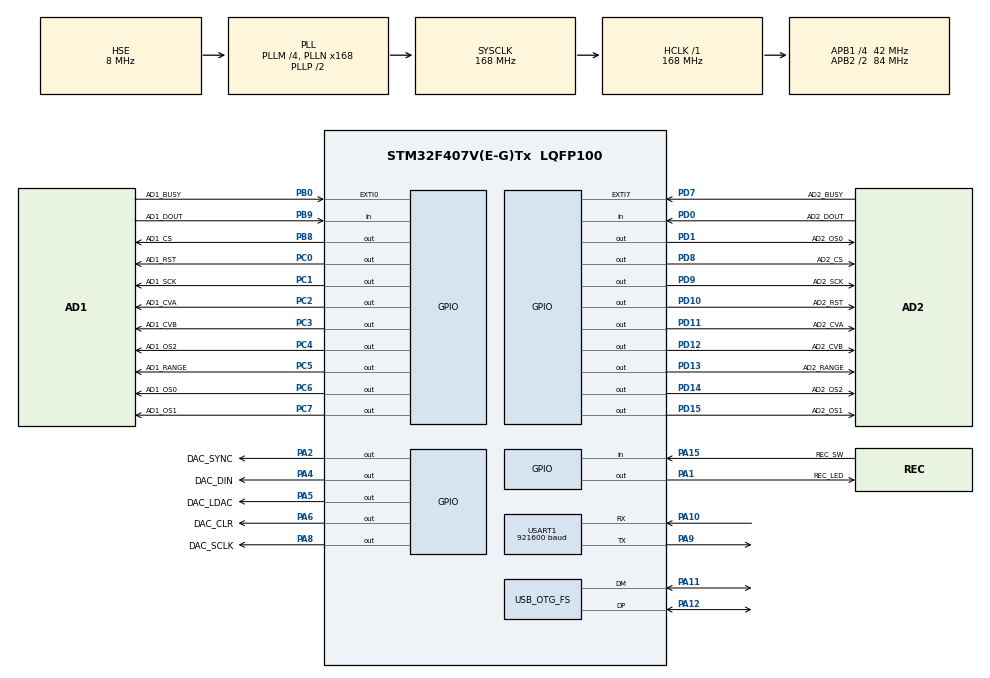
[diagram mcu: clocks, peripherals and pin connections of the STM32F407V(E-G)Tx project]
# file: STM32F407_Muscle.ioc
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Dma.Request0=SDIO_RX
Dma.Request1=SDIO_TX
Dma.Request2=USART1_TX
Dma.Request3=USART1_RX
Dma.SDIO_RX.0.Channel=DMA_CHANNEL_4
Dma.SDIO_RX.0.Direction=DMA_PERIPH_TO_MEMORY
Dma.SDIO_RX.0.FIFOMode=DMA_FIFOMODE_ENABLE
Dma.SDIO_RX.0.FIFOThreshold=DMA_FIFO_THRESHOLD_FULL
Dma.SDIO_RX.0.Instance=DMA2_Stream3
Dma.SDIO_RX.0.MemBurst=DMA_MBURST_INC4
Dma.SDIO_RX.0.MemDataAlignment=DMA_MDATAALIGN_WORD
Dma.SDIO_RX.0.MemInc=DMA_MINC_ENABLE
Dma.SDIO_RX.0.Mode=DMA_PFCTRL
Dma.SDIO_RX.0.PeriphBurst=DMA_PBURST_INC4
Dma.SDIO_RX.0.PeriphDataAlignment=DMA_PDATAALIGN_WORD
Dma.SDIO_RX.0.PeriphInc=DMA_PINC_DISABLE
Dma.SDIO_RX.0.Priority=DMA_PRIORITY_VERY_HIGH
Dma.SDIO_TX.1.Channel=DMA_CHANNEL_4
Dma.SDIO_TX.1.Direction=DMA_MEMORY_TO_PERIPH
Dma.SDIO_TX.1.FIFOMode=DMA_FIFOMODE_ENABLE
Dma.SDIO_TX.1.FIFOThreshold=DMA_FIFO_THRESHOLD_FULL
Dma.SDIO_TX.1.Instance=DMA2_Stream6
Dma.SDIO_TX.1.MemBurst=DMA_MBURST_INC4
Dma.SDIO_TX.1.MemDataAlignment=DMA_MDATAALIGN_WORD
Dma.SDIO_TX.1.MemInc=DMA_MINC_ENABLE
Dma.SDIO_TX.1.Mode=DMA_PFCTRL
Dma.SDIO_TX.1.PeriphBurst=DMA_PBURST_INC4
Dma.SDIO_TX.1.PeriphDataAlignment=DMA_PDATAALIGN_WORD
Dma.SDIO_TX.1.PeriphInc=DMA_PINC_DISABLE
Dma.SDIO_TX.1.Priority=DMA_PRIORITY_VERY_HIGH
Dma.USART1_TX.2.Channel=DMA_CHANNEL_4
Dma.USART1_TX.2.Direction=DMA_MEMORY_TO_PERIPH
Dma.USART1_TX.2.FIFOMode=DMA_FIFOMODE_DISABLE
Dma.USART1_TX.2.Instance=DMA2_Stream7
Dma.USART1_TX.2.MemDataAlignment=DMA_MDATAALIGN_BYTE
Dma.USART1_TX.2.MemInc=DMA_MINC_ENABLE
Dma.USART1_TX.2.Mode=DMA_NORMAL
Dma.USART1_TX.2.PeriphDataAlignment=DMA_PDATAALIGN_BYTE
Dma.USART1_TX.2.PeriphInc=DMA_PINC_DISABLE
Dma.USART1_TX.2.Priority=DMA_PRIORITY_LOW
Dma.USART1_RX.3.Channel=DMA_CHANNEL_4
Dma.USART1_RX.3.Direction=DMA_PERIPH_TO_MEMORY
Dma.USART1_RX.3.FIFOMode=DMA_FIFOMODE_DISABLE
Dma.USART1_RX.3.Instance=DMA2_Stream2
Dma.USART1_RX.3.MemDataAlignment=DMA_MDATAALIGN_BYTE
Dma.USART1_RX.3.MemInc=DMA_MINC_ENABLE
Dma.USART1_RX.3.Mode=DMA_NORMAL
Dma.USART1_RX.3.PeriphDataAlignment=DMA_PDATAALIGN_BYTE
Dma.USART1_RX.3.PeriphInc=DMA_PINC_DISABLE
Dma.USART1_RX.3.Priority=DMA_PRIORITY_HIGH
Mcu.Family=STM32F4
Mcu.Name=STM32F407V(E-G)Tx
Mcu.Package=LQFP100
NVIC.DMA2_Stream2_IRQn=true\:2\:0\:false\:false\:true\:false\:true\:true
NVIC.DMA2_Stream7_IRQn=true\:3\:0\:false\:false\:true\:false\:true\:true
NVIC.DMA2_Stream3_IRQn=true\:3\:0\:false\:false\:true\:false\:true\:true
NVIC.DMA2_Stream6_IRQn=true\:3\:0\:false\:false\:true\:false\:true\:true
NVIC.EXTI0_IRQn=true\:1\:0\:false\:false\:true\:false\:true\:true
NVIC.OTG_FS_IRQn=true\:5\:0\:false\:false\:true\:false\:true\:true
NVIC.SDIO_IRQn=true\:3\:0\:false\:false\:true\:false\:true\:true
NVIC.PriorityGroup=NVIC_PRIORITYGROUP_4
NVIC.TIM3_IRQn=true\:0\:0\:false\:false\:true\:false\:true\:true
NVIC.USART1_IRQn=true\:2\:0\:false\:false\:true\:false\:true\:true
PA13.Mode=Serial_Wire
PA13.Signal=SYS_JTMS-SWDIO
PA14.Mode=Serial_Wire
PA14.Signal=SYS_JTCK-SWCLK
PA15.GPIO_Label=REC_SW
PA15.GPIO_PuPd=GPIO_PULLUP
PA15.Signal=GPIO_Input
PA2.GPIO_Label=DAC_SYNC
PA2.PinState=GPIO_PIN_SET
PA2.Signal=GPIO_Output
PA1.GPIO_Label=REC_LED
PA1.PinState=GPIO_PIN_SET
PA1.Signal=GPIO_Output
PA4.GPIO_Label=DAC_DIN
PA4.Signal=GPIO_Output
PA5.GPIO_Label=DAC_LDAC
PA5.Signal=GPIO_Output
PA6.GPIO_Label=DAC_CLR
PA6.PinState=GPIO_PIN_SET
PA6.Signal=GPIO_Output
PA8.GPIO_Label=DAC_SCLK
PA8.Signal=GPIO_Output
PA9.Mode=Asynchronous
PA9.Signal=USART1_TX
PA10.Mode=Asynchronous
PA10.Signal=USART1_RX
PA11.Mode=Host_Only
PA11.Signal=USB_OTG_FS_DM
PA12.Mode=Host_Only
PA12.Signal=USB_OTG_FS_DP
PB0.GPIO_Label=AD1_BUSY
PB0.GPIO_ModeDefaultEXTI=GPIO_MODE_IT_FALLING
PB0.GPIO_PuPd=GPIO_PULLUP
PB0.Mode=IT_Falling
PB0.Signal=GPXTI0
PB8.GPIO_Label=AD1_CS
PB8.PinState=GPIO_PIN_SET
PB8.Signal=GPIO_Output
PB9.GPIO_Label=AD1_DOUT
PB9.GPIO_PuPd=GPIO_PULLUP
PB9.Signal=GPIO_Input
PC0.GPIO_Label=AD1_RST
PC0.Signal=GPIO_Output
PC1.GPIO_Label=AD1_SCK
PC1.Signal=GPIO_Output
PC2.GPIO_Label=AD1_CVA
PC2.PinState=GPIO_PIN_SET
PC2.Signal=GPIO_Output
PC3.GPIO_Label=AD1_CVB
PC3.PinState=GPIO_PIN_SET
PC3.Signal=GPIO_Output
PC4.GPIO_Label=AD1_OS2
PC4.Signal=GPIO_Output
PC5.GPIO_Label=AD1_RANGE
PC5.Signal=GPIO_Output
PC6.GPIO_Label=AD1_OS0
PC6.Signal=GPIO_Output
PC7.GPIO_Label=AD1_OS1
PC7.Signal=GPIO_Output
PC8.Signal=SDIO_D0
PC12.Signal=SDIO_CK
PD0.GPIO_Label=AD2_DOUT
PD0.GPIO_PuPd=GPIO_PULLUP
PD0.Signal=GPIO_Input
PD1.GPIO_Label=AD2_OS0
PD1.Signal=GPIO_Output
PD2.Signal=SDIO_CMD
PD10.GPIO_Label=AD2_RST
PD10.Signal=GPIO_Output
PD11.GPIO_Label=AD2_CVA
PD11.PinState=GPIO_PIN_SET
PD11.Signal=GPIO_Output
PD12.GPIO_Label=AD2_CVB
PD12.PinState=GPIO_PIN_SET
PD12.Signal=GPIO_Output
PD13.GPIO_Label=AD2_RANGE
PD13.Signal=GPIO_Output
PD14.GPIO_Label=AD2_OS2
PD14.Signal=GPIO_Output
PD15.GPIO_Label=AD2_OS1
PD15.Signal=GPIO_Output
PD7.GPIO_Label=AD2_BUSY
PD7.GPIO_ModeDefaultEXTI=GPIO_MODE_IT_FALLING
PD7.GPIO_PuPd=GPIO_PULLUP
PD7.Mode=IT_Falling
PD7.Signal=GPXTI7
PD8.GPIO_Label=AD2_CS
PD8.PinState=GPIO_PIN_SET
PD8.Signal=GPIO_Output
PD9.GPIO_Label=AD2_SCK
PD9.Signal=GPIO_Output
PH0-OSC_IN.Mode=HSE-External-Oscillator
PH0-OSC_IN.Signal=RCC_OSC_IN
PH1-OSC_OUT.Mode=HSE-External-Oscillator
PH1-OSC_OUT.Signal=RCC_OSC_OUT
ProjectManager.HeapSize=0x1000
ProjectManager.StackSize=0x1000
ProjectManager.TargetToolchain=MDK-ARM V5.32
RCC.48MHZClocksFreq_Value=48000000
RCC.AHBFreq_Value=168000000
RCC.APB1CLKDivider=RCC_HCLK_DIV4
RCC.APB1Freq_Value=42000000
RCC.APB1TimFreq_Value=84000000
RCC.APB2CLKDivider=RCC_HCLK_DIV2
RCC.APB2Freq_Value=84000000
RCC.APB2TimFreq_Value=168000000
RCC.CortexFreq_Value=168000000
RCC.HCLKFreq_Value=168000000
RCC.HSE_VALUE=8000000
RCC.HSI_VALUE=16000000
RCC.LSE_VALUE=32768
RCC.PLLM=4
RCC.PLLN=168
RCC.PLLQ=7
RCC.PLLSourceVirtual=RCC_PLLSOURCE_HSE
RCC.SYSCLKFreq_VALUE=168000000
RCC.SYSCLKSource=RCC_SYSCLKSOURCE_PLLCLK
RCC.VCOOutputFreq_Value=336000000
SH.SDIO_D0.0=SDIO_D0
SDIO.BusWide=SDIO_BUS_WIDE_1B
SDIO.ClockBypass=SDIO_CLOCK_BYPASS_DISABLE
SDIO.ClockDiv=10
SDIO.ClockEdge=SDIO_CLOCK_EDGE_RISING
SDIO.ClockPowerSave=SDIO_CLOCK_POWER_SAVE_DISABLE
SDIO.HardwareFlowControl=SDIO_HARDWARE_FLOW_CONTROL_ENABLE
FATFS.VirtualMode=Sd
VP_FATFS_VS_SDSPI1.Mode=SD
USB_HOST.USBH_HandleTypeDef-CDC_FS=hUsbHostFS
USB_HOST.VirtualModeFS=Cdc
USB_OTG_FS.VirtualMode=Host_Only
USB_OTG_FS.phy_itface=HCD_PHY_EMBEDDED
TIM3.AutoReloadPreload=TIM_AUTORELOAD_PRELOAD_DISABLE
TIM3.ClockDivision=TIM_CLOCKDIVISION_DIV1
TIM3.CounterMode=TIM_COUNTERMODE_UP
TIM3.Period=499
TIM3.Prescaler=83
TIM3.TIM_MasterOutputTrigger=TIM_TRGO_RESET
TIM3.TIM_MasterSlaveMode=TIM_MASTERSLAVEMODE_DISABLE
USART1.BaudRate=921600
USART1.Parity=UART_PARITY_NONE
USART1.StopBits=UART_STOPBITS_1
USART1.VirtualMode=VM_ASYNC
USART1.WordLength=UART_WORDLENGTH_8B
VP_TIM3_VS_ClockSourceINT.Mode=Internal
board=custom

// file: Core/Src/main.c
/* USER CODE BEGIN Header */
/**
  ******************************************************************************
  * @file           : main.c
  * @brief          : Main program body
  *
  *  - TIM3 @ 2000 Hz starts a synchronous conversion on both AD7606 chips;
  *    the BUSY falling edge (EXTI0) reads all 16 channels right in the ISR
  *    and pushes the raw frame into the SD recorder ring, so samples are
  *    captured completely even while a FatFs write blocks the main loop.
  *  - 100 Hz of the stream goes to USART1 as a VOFA+ JustFloat frame,
  *    59 little-endian float32 followed by the tail 00 00 80 7F:
  *      [0]    status: bit0 = SD card present, bit1 = USB device connected
  *             (0..3, updated live, hot-plug aware)
  *      [1..2] DAC A / DAC B output voltage (last commanded value)
  *      [3..18] 16 x raw ADC volts
  *      [19..34] 16 x filtered sEMG volts (20 Hz HP, 50 Hz notch, 450 Hz LP)
  *      [35..58] 4 IMU x [roll,pitch,yaw,ax,ay,az] (held between updates)
  *  - Every ADC sample and every raw IMU frame is also logged to the SD
  *    card (recorder.c, LOGxxxx.BIN) with a common 2000 Hz sequence number.
  *  - IMU data comes from the WT9011DCL-RF receiver attached to USB OTG FS
  *    (USB Host CDC, CH340 @ 460800), parsed by imu_parser.
  *  - USART1 RX takes line-based string commands (see cmd.h), e.g.
  *    "DAC A 3.3" sets DAC channel A to +3.3 V, "REC STOP" stops logging.
  *  - On-board button K3 (PA15, to GND) toggles SD recording start/stop;
  *    the PA1 LED (active low) is on while recording. See 原理图V2.8.
  *  - printf() is retargeted to USART1 through a non-blocking DMA ring
  *    buffer (serial.c), so logging never stalls the 2000 Hz loop.
  *
  *  Interrupt priorities: TIM3 (conversion start) = 0, EXTI0 (BUSY) = 1,
  *  USART1 = 2, DMA2 Stream7 (USART1 TX) = 3, OTG_FS (USB host) = 5.
  *  SDIO runs in polling mode (no IRQ).
  ******************************************************************************
  * @attention
  *
  * Copyright (c) 2026 STMicroelectronics.
  * All rights reserved.
  *
  * This software is licensed under terms that can be found in the LICENSE file
  * in the root directory of this software component.
  * If no LICENSE file comes with this software, it is provided AS-IS.
  *
  ******************************************************************************
  */
/* USER CODE END Header */
#include "main.h"
#include "dma.h"
#include "tim.h"
#include "usart.h"
#include "sdio.h"
#include "usb_host.h"
#include "gpio.h"

/* USER CODE BEGIN Includes */
#include "ad7606.h"
#include "emg_filter.h"
#include "dac8563.h"
#include "serial.h"
#include "cmd.h"
#include "imu_parser.h"
#include "recorder.h"
#include "usbh_cdc.h"

#include <stdio.h>
#include <string.h>
/* USER CODE END Includes */

/* USER CODE BEGIN PTD */
typedef enum
{
  CDC_STATE_IDLE = 0,
  CDC_STATE_SET_LINE_CODING,
  CDC_STATE_SET_CONTROL_LINE,
  CDC_STATE_START_RECEPTION,
  CDC_STATE_RUNNING
} CDC_AppStateTypeDef;
/* USER CODE END PTD */

/* USER CODE BEGIN PD */
#define IMU_COUNT                    4u      /* slaves with device_id 0..3        */
#define IMU_FLOATS_PER_UNIT          6u      /* roll,pitch,yaw + ax,ay,az         */
#define TX_META_FLOATS               3u      /* status + DAC A + DAC B (first)    */
#define TX_CH_COUNT                  (TX_META_FLOATS + (2u * AD7606_TOTAL_CH) + IMU_COUNT * IMU_FLOATS_PER_UNIT)
#define TX_FRAME_LEN                 (TX_CH_COUNT * 4u + 4u)   /* floats + tail  */
#define TX_DECIMATION                20u     /* 2000 Hz / 20 = 100 Hz on UART  */
#define ADC_LSB_VOLTS                (5.0f / 32768.0f)         /* +/-5 V range   */

#define CDC_RX_BUF_SIZE              512U
#define CDC_RX_TIMEOUT_MS            2000U
#define CDC_REQ_SET_CONTROL_LINE_STATE 0x22U
#define CDC_CTRL_LINE_DTR_RTS        0x0003U
#define CDC_LINE_CODING_TIMEOUT_MS   2000U
#define CDC_BAUDRATE                 460800U
/* USER CODE END PD */

/* USER CODE BEGIN PV */
extern ApplicationTypeDef Appli_state;
extern USBH_HandleTypeDef hUsbHostFS;

volatile uint32_t g_sample_seq = 0u;        /* 2000 Hz tick, shared with recorder */
static volatile uint8_t g_new_sample = 0u;  /* set by EXTI ISR after ADC read   */
static int16_t  g_adc_values[AD7606_TOTAL_CH];
static volatile float g_emg_filtered_volts[AD7606_TOTAL_CH];
static float    g_tx_fdata[TX_CH_COUNT];
static uint8_t  g_tx_frame[TX_FRAME_LEN];
static const uint8_t g_tx_tail[4] = {0x00u, 0x00u, 0x80u, 0x7Fu};  /* JustFloat tail */
static uint32_t g_next_uart_seq = 0u;

static uint8_t cdc_rx_buf[CDC_RX_BUF_SIZE];
static CDC_LineCodingTypeDef cdc_linecoding;
static volatile CDC_AppStateTypeDef cdc_state = CDC_STATE_IDLE;
static volatile uint8_t  cdc_line_coding_done = 0;
static volatile uint8_t  cdc_rx_ready = 0;
static volatile uint32_t cdc_last_rx_tick = 0;
static uint32_t cdc_line_coding_start_tick = 0;
/* USER CODE END PV */

void SystemClock_Config(void);
/* USER CODE BEGIN PFP */
static void CDC_Process(void);
static USBH_StatusTypeDef CDC_SetControlLineState(USBH_HandleTypeDef *phost, uint16_t state);
static void build_sample_frame(void);
static void rec_switch_poll(void);
/* USER CODE END PFP */

int main(void)
{

  /* MCU Configuration--------------------------------------------------------*/

  /* Reset of all peripherals, Initializes the Flash interface and the Systick. */
  HAL_Init();

  /* Configure the system clock */
  SystemClock_Config();

  /* Initialize all configured peripherals */
  MX_GPIO_Init();
  MX_DMA_Init();
  MX_TIM3_Init();
  MX_USART1_UART_Init();
  MX_SDIO_SD_Init();
  MX_USB_HOST_Init();
  /* USER CODE BEGIN 2 */
  AD7606_Init();
  EMG_Filter_Init();
  DAC8563_Init();

  /* Boot-time status, printed once at reset (the JustFloat stream keeps
     reporting both live in channel 0). Recorder_Init only probes the card;
     it does not create a file or start recording. USB detection gets a
     bounded 2 s enumeration window; TIM3 sampling is not started yet. */
  uint8_t boot_sd = Recorder_Init();
  uint8_t boot_usb = 0u;
  uint32_t usb_wait = HAL_GetTick();
  while ((HAL_GetTick() - usb_wait) < 2000u)
  {
    MX_USB_HOST_Process();
    if (Appli_state == APPLICATION_READY)
    {
      boot_usb = 1u;
      break;
    }
  }
  if ((Appli_state == APPLICATION_START) || (Appli_state == APPLICATION_READY))
  {
    boot_usb = 1u;
  }

  printf("\r\n[BOOT] SD=%u USB=%u (1=present)\r\n", (unsigned int)boot_sd, (unsigned int)boot_usb);
  printf("STM32F407_Muscle ready. USART1 @ 921600 8N1, JustFloat %u ch @ 100 Hz\r\n",
         (unsigned int)TX_CH_COUNT);
  printf("ch0: connection status (bit0=SD present, bit1=USB connected), ch1-2: DAC A/B volts\r\n");
  printf("Type HELP for commands.\r\n");

  Cmd_Init();
  HAL_TIM_Base_Start_IT(&htim3);
  /* USER CODE END 2 */

  /* Infinite loop */
  /* USER CODE BEGIN WHILE */
  while (1)
  {
    MX_USB_HOST_Process();
    CDC_Process();
    Recorder_Process();

    if ((g_new_sample != 0u) && ((int32_t)(g_sample_seq - g_next_uart_seq) >= 0))
    {
      g_new_sample = 0u;
      g_next_uart_seq = g_sample_seq + TX_DECIMATION;

      build_sample_frame();
      (void)Serial_Write(g_tx_frame, TX_FRAME_LEN);
    }

    Cmd_Process();

    rec_switch_poll();
    HAL_GPIO_WritePin(REC_LED_GPIO_Port, REC_LED_Pin,
                      (Recorder_IsActive() != 0u) ? GPIO_PIN_RESET : GPIO_PIN_SET);
    /* USER CODE END WHILE */

  }
}

void SystemClock_Config(void)
{
  RCC_OscInitTypeDef RCC_OscInitStruct = {0};
  RCC_ClkInitTypeDef RCC_ClkInitStruct = {0};

  /** Configure the main internal regulator output voltage
  */
  __HAL_RCC_PWR_CLK_ENABLE();
  __HAL_PWR_VOLTAGESCALING_CONFIG(PWR_REGULATOR_VOLTAGE_SCALE1);

  /** Initializes the RCC Oscillators according to the specified parameters
  * in the RCC_OscInitTypeDef structure.
  */
  RCC_OscInitStruct.OscillatorType = RCC_OSCILLATORTYPE_HSE;
  RCC_OscInitStruct.HSEState = RCC_HSE_ON;
  RCC_OscInitStruct.PLL.PLLState = RCC_PLL_ON;
  RCC_OscInitStruct.PLL.PLLSource = RCC_PLLSOURCE_HSE;
  RCC_OscInitStruct.PLL.PLLM = 4;
  RCC_OscInitStruct.PLL.PLLN = 168;
  RCC_OscInitStruct.PLL.PLLP = RCC_PLLP_DIV2;
  RCC_OscInitStruct.PLL.PLLQ = 7;
  if (HAL_RCC_OscConfig(&RCC_OscInitStruct) != HAL_OK)
  {
    Error_Handler();
  }

  /** Initializes the CPU, AHB and APB buses clocks
  */
  RCC_ClkInitStruct.ClockType = RCC_CLOCKTYPE_HCLK|RCC_CLOCKTYPE_SYSCLK
                              |RCC_CLOCKTYPE_PCLK1|RCC_CLOCKTYPE_PCLK2;
  RCC_ClkInitStruct.SYSCLKSource = RCC_SYSCLKSOURCE_PLLCLK;
  RCC_ClkInitStruct.AHBCLKDivider = RCC_HCLK_DIV1;
  RCC_ClkInitStruct.APB1CLKDivider = RCC_HCLK_DIV4;
  RCC_ClkInitStruct.APB2CLKDivider = RCC_HCLK_DIV2;

  if (HAL_RCC_ClockConfig(&RCC_ClkInitStruct, FLASH_LATENCY_5) != HAL_OK)
  {
    Error_Handler();
  }
}

/* USER CODE BEGIN 4 */
/**
  * @brief  Fill g_tx_frame with one JustFloat frame: 16 raw ADC channels in
  *         volts, followed by 16 filtered sEMG channels in volts, then for
  *         each IMU (id 0..3) roll/pitch/yaw in degrees and ax/ay/az in g.
  *         IMU fields hold their last value between updates.
  */
static void build_sample_frame(void)
{
  uint32_t idx = 0u;

  /* meta channels first: combined SD/USB status, then both DAC outputs */
  g_tx_fdata[idx++] = (float)((((Appli_state == APPLICATION_START) ||
                               (Appli_state == APPLICATION_READY)) ? 2u : 0u) |
                              ((Recorder_IsCardPresent() != 0u) ? 1u : 0u));
  g_tx_fdata[idx++] = DAC8563_GetVoltage(DAC8563_CH_A);
  g_tx_fdata[idx++] = DAC8563_GetVoltage(DAC8563_CH_B);

  /* latest ADC sample is written by the EXTI ISR; copy it atomically */
  __disable_irq();
  for (uint32_t i = 0u; i < AD7606_TOTAL_CH; i++)
  {
    g_tx_fdata[idx++] = (float)g_adc_values[i] * ADC_LSB_VOLTS;
  }
  for (uint32_t i = 0u; i < AD7606_TOTAL_CH; i++)
  {
    g_tx_fdata[idx++] = g_emg_filtered_volts[i];
  }
  __enable_irq();

  for (uint32_t id = 0u; id < IMU_COUNT; id++)
  {
    IMU_Data_t *d = IMU_GetSlaveData((uint8_t)id);

    /* guard against the parser updating the record from the OTG_FS ISR */
    __disable_irq();
    g_tx_fdata[idx++] = d->angle_deg[0];
    g_tx_fdata[idx++] = d->angle_deg[1];
    g_tx_fdata[idx++] = d->angle_deg[2];
    g_tx_fdata[idx++] = d->accel_g[0];
    g_tx_fdata[idx++] = d->accel_g[1];
    g_tx_fdata[idx++] = d->accel_g[2];
    __enable_irq();
  }

  memcpy(g_tx_frame, g_tx_fdata, TX_CH_COUNT * 4u);
  memcpy(&g_tx_frame[TX_CH_COUNT * 4u], g_tx_tail, 4u);
}

/**
  * @brief  Advance the USB CDC state machine (CH340 of the 9011RF receiver).
  */
static void CDC_Process(void)
{
  if (Appli_state == APPLICATION_READY)
  {
    switch (cdc_state)
    {
      case CDC_STATE_IDLE:
        cdc_linecoding.b.dwDTERate = CDC_BAUDRATE;
        cdc_linecoding.b.bCharFormat = 0U;
        cdc_linecoding.b.bParityType = 0U;
        cdc_linecoding.b.bDataBits = 8U;
        cdc_line_coding_done = 0U;
        cdc_line_coding_start_tick = HAL_GetTick();
        USBH_CDC_SetLineCoding(&hUsbHostFS, &cdc_linecoding);
        cdc_state = CDC_STATE_SET_LINE_CODING;
        break;

      case CDC_STATE_SET_LINE_CODING:
        if (cdc_line_coding_done != 0U)
        {
          cdc_state = CDC_STATE_SET_CONTROL_LINE;
        }
        else if ((HAL_GetTick() - cdc_line_coding_start_tick) > CDC_LINE_CODING_TIMEOUT_MS)
        {
          printf("[WARN] CDC SetLineCoding timeout, proceeding\r\n");
          cdc_state = CDC_STATE_SET_CONTROL_LINE;
        }
        break;

      case CDC_STATE_SET_CONTROL_LINE:
      {
        USBH_StatusTypeDef st = CDC_SetControlLineState(&hUsbHostFS, CDC_CTRL_LINE_DTR_RTS);
        if (st != USBH_BUSY)
        {
          cdc_state = CDC_STATE_START_RECEPTION;
        }
        break;
      }

      case CDC_STATE_START_RECEPTION:
        if (USBH_CDC_Receive(&hUsbHostFS, cdc_rx_buf, CDC_RX_BUF_SIZE) == USBH_OK)
        {
          cdc_last_rx_tick = HAL_GetTick();
          cdc_state = CDC_STATE_RUNNING;
        }
        break;

      case CDC_STATE_RUNNING:
        if ((HAL_GetTick() - cdc_last_rx_tick) > CDC_RX_TIMEOUT_MS)
        {
          printf("[WARN] CDC RX timeout, re-arming reception\r\n");
          cdc_state = CDC_STATE_START_RECEPTION;
        }
        break;

      default:
        cdc_state = CDC_STATE_IDLE;
        break;
    }
  }
  else
  {
    cdc_state = CDC_STATE_IDLE;
    cdc_rx_ready = 0U;
    cdc_line_coding_done = 0U;
  }
}

/**
  * @brief  SET_CONTROL_LINE_STATE class request (DTR | RTS), needed by the
  *         CH340 before it forwards data.
  */
static USBH_StatusTypeDef CDC_SetControlLineState(USBH_HandleTypeDef *phost, uint16_t state)
{
  phost->Control.setup.b.bmRequestType = USB_H2D | USB_REQ_TYPE_CLASS | USB_REQ_RECIPIENT_INTERFACE;
  phost->Control.setup.b.bRequest = CDC_REQ_SET_CONTROL_LINE_STATE;
  phost->Control.setup.b.wValue.w = state;
  phost->Control.setup.b.wIndex.w = 0x0000U;
  phost->Control.setup.b.wLength.w = 0U;

  return USBH_CtlReq(phost, NULL, 0U);
}

void USBH_CDC_LineCodingChanged(USBH_HandleTypeDef *phost)
{
  (void)phost;
  cdc_line_coding_done = 1U;
}

void USBH_CDC_ReceiveCallback(USBH_HandleTypeDef *phost)
{
  uint16_t len = USBH_CDC_GetLastReceivedDataSize(phost);

  if (len > 0U)
  {
    cdc_last_rx_tick = HAL_GetTick();
    cdc_rx_ready = 1U;
    IMU_ParseStream(cdc_rx_buf, len);
  }

  if (USBH_CDC_Receive(phost, cdc_rx_buf, CDC_RX_BUF_SIZE) != USBH_OK)
  {
    cdc_state = CDC_STATE_START_RECEPTION;
    cdc_rx_ready = 0U;
  }
}

/**
  * @brief  Poll the on-board REC button K3 (PA15, active low, 100 nF to GND
  *         on the board). Sampled every 20 ms, 3 identical samples required
  *         (60 ms debounce); a stable press toggles SD recording.
  */
static void rec_switch_poll(void)
{
  static uint32_t last_tick = 0u;
  static uint8_t  raw_history = 0xFFu;   /* bit0 = latest sample, 1 = released */
  static uint8_t  stable_state = 1u;     /* debounced state, 1 = released    */

  if ((HAL_GetTick() - last_tick) < 20u)
  {
    return;
  }
  last_tick = HAL_GetTick();

  raw_history = (uint8_t)((raw_history << 1) |
      ((HAL_GPIO_ReadPin(REC_SW_GPIO_Port, REC_SW_Pin) != GPIO_PIN_RESET) ? 1u : 0u));

  if ((raw_history & 0x07u) == 0x00u)
  {
    if (stable_state != 0u)
    {
      stable_state = 0u;   /* debounced press edge: toggle recording */
      if (Recorder_IsActive() != 0u)
      {
        Recorder_Stop();
      }
      else
      {
        Recorder_Start();
      }
    }
  }
  else if ((raw_history & 0x07u) == 0x07u)
  {
    stable_state = 1u;
  }
}

/**
  * @brief  TIM3 update (2000 Hz): bump the global sample sequence number and
  *         start a conversion on both AD7606 chips.
  */
void HAL_TIM_PeriodElapsedCallback(TIM_HandleTypeDef *htim)
{
  if (htim->Instance == TIM3)
  {
    g_sample_seq++;
    AD7606_StartConversion();
  }
}

/**
  * @brief  AD7606 BUSY falling edge: conversion finished. Read all 16
  *         channels right here (~120 us) and push the raw sample into the
  *         SD recorder ring, so no sample is lost while the main loop is
  *         busy with a FatFs/SDIO write. Both chips convert on the same
  *         CONVST pulse, so the chip #1 BUSY edge covers both.
  */
void HAL_GPIO_EXTI_Callback(uint16_t GPIO_Pin)
{
  if (GPIO_Pin == AD1_BUSY_Pin)
  {
    AD7606_ReadAll((int16_t *)g_adc_values);
    /* SD receives the untouched raw ADC frame.  Filtering is only for the
       expanded USART telemetry frame and never changes g_adc_values. */
    Recorder_PushAdc(g_sample_seq, g_adc_values);
    EMG_Filter_Process(g_adc_values, g_emg_filtered_volts);
    g_new_sample = 1u;
  }
}

/**
  * @brief  Raw IMU frame hook (overrides the weak one in imu_parser.c):
  *         log the untouched 26-byte payload with the current ADC tick.
  */
void IMU_RawFrameHook(uint8_t device_id, const uint8_t *payload, uint16_t len)
{
  if (len == 26u)
  {
    Recorder_PushImu(g_sample_seq, device_id, payload);
  }
}

void HAL_UARTEx_RxEventCallback(UART_HandleTypeDef *huart, uint16_t Size)
{
  if (huart->Instance == USART1)
  {
    Cmd_RxEvent(Size);
  }
}

void HAL_UART_TxCpltCallback(UART_HandleTypeDef *huart)
{
  if (huart->Instance == USART1)
  {
    Serial_TxCpltHandler();
  }
}

void HAL_UART_ErrorCallback(UART_HandleTypeDef *huart)
{
  if (huart->Instance == USART1)
  {
    Cmd_RxError();
  }
}
/* USER CODE END 4 */

void Error_Handler(void)
{
  __disable_irq();
  while (1)
  {
  }
}
